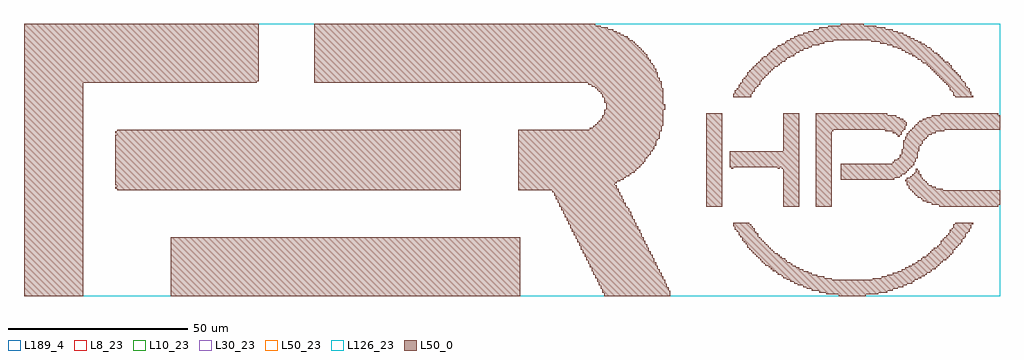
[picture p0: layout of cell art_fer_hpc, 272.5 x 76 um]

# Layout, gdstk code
import gdstk
lib = gdstk.Library(unit=1e-6, precision=1e-09)
def R(c, l, rs):  # rectangles x0, y0, x1, y1
    for r in rs: c.add(gdstk.rectangle(r[:2], r[2:], *l))
def P(c, l, *ps):  # polygons
    for p in ps: c.add(gdstk.Polygon(p, *l))
L8_23 = (8, 23)
L10_23 = (10, 23)
L30_23 = (30, 23)
L50_0 = (50, 0)
L50_23 = (50, 23)
L126_23 = (126, 23)
L189_4 = (189, 4)

art_fer_hpc = lib.new_cell('art_fer_hpc')
R(art_fer_hpc, L8_23, [(0,0,272.5,76)])
R(art_fer_hpc, L10_23, [(0,0,272.5,76)])
R(art_fer_hpc, L30_23, [(0,0,272.5,76)])
R(art_fer_hpc, L50_0, [(41,0,138.5,16.5), (190.5,25,195,51)])
P(art_fer_hpc, L50_0, [(227.5,0),(227.5,0.5),(224,0.5),(224,1),(222,1),(222,1.5),(220,1.5),(220,2),(218.5,2),(218.5,2.5),(217.5,2.5),(217.5,3),(216,3),(216,3.5),(215,3.5),(215,4),(214,4),(214,4.5),(213,4.5),(213,5),(212,5),(212,5.5),(211.5,5.5),(211.5,6),(210.5,6),(210.5,6.5),(210,6.5),(210,7),(209,7),(209,7.5),(208.5,7.5),(208.5,8),(208,8),(208,8.5),(207,8.5),(207,9),(206.5,9),(206.5,9.5),(206,9.5),(206,10),(205.5,10),(205.5,10.5),(205,10.5),(205,11),(204.5,11),(204.5,11.5),(204,11.5),(204,12),(203.5,12),(203.5,12.5),(203,12.5),(203,13),(202.5,13),(202.5,13.5),(202,13.5),(202,14.5),(201.5,14.5),(201.5,15),(201,15),(201,15.5),(200.5,15.5),(200.5,16.5),(200,16.5),(200,17),(199.5,17),(199.5,18),(199,18),(199,18.5),(198.5,18.5),(198.5,19.5),(198,19.5),(198,20.5),(202.5,20.5),(202.5,20),(203,20),(203,19.5),(203.5,19.5),(203.5,19),(204,19),(204,18),(204.5,18),(204.5,17.5),(205,17.5),(205,16.5),(205.5,16.5),(205.5,16),(206,16),(206,15.5),(206.5,15.5),(206.5,15),(207,15),(207,14.5),(207.5,14.5),(207.5,14),(208,14),(208,13.5),(208.5,13.5),(208.5,13),(209,13),(209,12.5),(209.5,12.5),(209.5,12),(210.5,12),(210.5,11.5),(211,11.5),(211,11),(211.5,11),(211.5,10.5),(212.5,10.5),(212.5,10),(213,10),(213,9.5),(214,9.5),(214,9),(214.5,9),(214.5,8.5),(215.5,8.5),(215.5,8),(216.5,8),(216.5,7.5),(217.5,7.5),(217.5,7),(219,7),(219,6.5),(220,6.5),(220,6),(221.5,6),(221.5,5.5),(223.5,5.5),(223.5,5),(225.5,5),(225.5,4.5),(237,4.5),(237,5),(239.5,5),(239.5,5.5),(241,5.5),(241,6),(242.5,6),(242.5,6.5),(244,6.5),(244,7),(245,7),(245,7.5),(246,7.5),(246,8),(247,8),(247,8.5),(248,8.5),(248,9),(249,9),(249,9.5),(249.5,9.5),(249.5,10),(250.5,10),(250.5,10.5),(251,10.5),(251,11),(252,11),(252,11.5),(252.5,11.5),(252.5,12),(253,12),(253,12.5),(253.5,12.5),(253.5,13),(254,13),(254,13.5),(255,13.5),(255,14),(255.5,14),(255.5,14.5),(256,14.5),(256,15.5),(256.5,15.5),(256.5,16),(257,16),(257,16.5),(257.5,16.5),(257.5,17),(258,17),(258,17.5),(258.5,17.5),(258.5,18.5),(259,18.5),(259,19),(259.5,19),(259.5,20),(260,20),(260,20.5),(265,20.5),(265,20),(264.5,20),(264.5,19),(264,19),(264,18),(263.5,18),(263.5,17.5),(263,17.5),(263,16.5),(262.5,16.5),(262.5,16),(262,16),(262,15),(261.5,15),(261.5,14.5),(261,14.5),(261,14),(260.5,14),(260.5,13.5),(260,13.5),(260,13),(259.5,13),(259.5,12),(259,12),(259,11.5),(258.5,11.5),(258.5,11),(258,11),(258,10.5),(257.5,10.5),(257.5,10),(256.5,10),(256.5,9.5),(256,9.5),(256,9),(255.5,9),(255.5,8.5),(255,8.5),(255,8),(254.5,8),(254.5,7.5),(253.5,7.5),(253.5,7),(253,7),(253,6.5),(252,6.5),(252,6),(251.5,6),(251.5,5.5),(250.5,5.5),(250.5,5),(249.5,5),(249.5,4.5),(248.5,4.5),(248.5,4),(248,4),(248,3.5),(246.5,3.5),(246.5,3),(245.5,3),(245.5,2.5),(244,2.5),(244,2),(242.5,2),(242.5,1.5),(241,1.5),(241,1),(238.5,1),(238.5,0.5),(235,0.5),(235,0)],
  [(255.5,25),(255.5,25.5),(253.5,25.5),(253.5,26),(252,26),(252,26.5),(251,26.5),(251,27),(250.5,27),(250.5,27.5),(249.5,27.5),(249.5,28),(249,28),(249,28.5),(248.5,28.5),(248.5,29),(248,29),(248,29.5),(247.5,29.5),(247.5,30),(247,30),(247,31),(246.5,31),(246.5,32),(246,32),(246,32.5),(246.5,32.5),(246.5,33),(247.5,33),(247.5,33.5),(248,33.5),(248,34),(248.5,34),(248.5,34.5),(249,34.5),(249,35.5),(249.5,35.5),(249.5,35),(250,35),(250,34),(250.5,34),(250.5,33),(251,33),(251,32.5),(251.5,32.5),(251.5,32),(252,32),(252,31.5),(252.5,31.5),(252.5,31),(253.5,31),(253.5,30.5),(254.5,30.5),(254.5,30),(256.5,30),(256.5,29.5),(272.5,29.5),(272.5,25.5),(272,25.5),(272,25)],
  [(26,29.5),(26,30),(25.5,30),(25.5,30.5),(26,30.5),(26,31),(25.5,31),(25.5,45),(26,45),(26,45.5),(25.5,45.5),(25.5,46),(26,46),(26,46.5),(122,46.5),(122,29.5)],
  [(212,25),(212,35.5),(211.5,35.5),(211.5,36),(211,36),(211,35.5),(210.5,35.5),(210.5,36),(198,36),(198,35.5),(197.5,35.5),(197.5,36),(197,36),(197,40.5),(212,40.5),(212,51),(216.5,51),(216.5,25)],
  [(221,25),(221,51),(241,51),(241,50.5),(243.5,50.5),(243.5,50),(244.5,50),(244.5,49.5),(245.5,49.5),(245.5,49),(246,49),(246,48.5),(246.5,48.5),(246.5,47.5),(246,47.5),(246,46.5),(245.5,46.5),(245.5,46),(245,46),(245,45),(244.5,45),(244.5,44.5),(244,44.5),(244,45),(243.5,45),(243.5,45.5),(242.5,45.5),(242.5,46),(240.5,46),(240.5,46.5),(226,46.5),(226,46),(225.5,46),(225.5,25)],
  [(228,32.5),(228,37),(242.5,37),(242.5,37.5),(243,37.5),(243,38),(244,38),(244,38.5),(244.5,38.5),(244.5,39.5),(245,39.5),(245,41),(245.5,41),(245.5,43.5),(246,43.5),(246,44.5),(246.5,44.5),(246.5,45.5),(247,45.5),(247,46),(247.5,46),(247.5,46.5),(248,46.5),(248,47),(248.5,47),(248.5,47.5),(249,47.5),(249,48),(249.5,48),(249.5,48.5),(250,48.5),(250,49),(251,49),(251,49.5),(252,49.5),(252,50),(253.5,50),(253.5,50.5),(256,50.5),(256,51),(272,51),(272,50.5),(272.5,50.5),(272.5,46.5),(257,46.5),(257,46),(254.5,46),(254.5,45.5),(253.5,45.5),(253.5,45),(252.5,45),(252.5,44.5),(252,44.5),(252,44),(251.5,44),(251.5,43.5),(251,43.5),(251,42.5),(250.5,42.5),(250.5,42),(250,42),(250,40.5),(249.5,40.5),(249.5,38.5),(249,38.5),(249,37.5),(248.5,37.5),(248.5,36.5),(248,36.5),(248,36),(247.5,36),(247.5,35.5),(247,35.5),(247,35),(246.5,35),(246.5,34.5),(246,34.5),(246,34),(245,34),(245,33.5),(244.5,33.5),(244.5,33),(243,33),(243,32.5)],
  [(0,0),(0,76),(65.5,76),(65.5,60),(65,60),(65,59.5),(16.5,59.5),(16.5,0)],
  [(162,0),(162,1),(161.5,1),(161.5,2),(161,2),(161,3),(160.5,3),(160.5,4),(160,4),(160,5),(159.5,5),(159.5,6),(159,6),(159,7),(158.5,7),(158.5,8),(158,8),(158,9),(157.5,9),(157.5,10),(157,10),(157,11),(156.5,11),(156.5,12),(156,12),(156,13),(155.5,13),(155.5,14),(155,14),(155,15),(154.5,15),(154.5,16),(154,16),(154,17),(153.5,17),(153.5,18),(153,18),(153,19),(152.5,19),(152.5,20),(152,20),(152,21),(151.5,21),(151.5,22),(151,22),(151,23),(150.5,23),(150.5,24),(150,24),(150,25),(149.5,25),(149.5,26),(149,26),(149,27),(148.5,27),(148.5,28),(148,28),(148,29),(147.5,29),(147.5,29.5),(138,29.5),(138,46.5),(158,46.5),(158,47),(159,47),(159,47.5),(159.5,47.5),(159.5,48),(160,48),(160,48.5),(160.5,48.5),(160.5,49),(161,49),(161,49.5),(161.5,49.5),(161.5,50.5),(162,50.5),(162,52),(162.5,52),(162.5,54),(162,54),(162,55.5),(161.5,55.5),(161.5,56.5),(161,56.5),(161,57),(160.5,57),(160.5,57.5),(160,57.5),(160,58),(159.5,58),(159.5,58.5),(158.5,58.5),(158.5,59),(157.5,59),(157.5,59.5),(81,59.5),(81,76),(159.5,76),(159.5,75.5),(161,75.5),(161,75),(163,75),(163,74.5),(164.5,74.5),(164.5,74),(165.5,74),(165.5,73.5),(166.5,73.5),(166.5,73),(167.5,73),(167.5,72.5),(168.5,72.5),(168.5,72),(169,72),(169,71.5),(170,71.5),(170,71),(170.5,71),(170.5,70.5),(171,70.5),(171,70),(171.5,70),(171.5,69.5),(172,69.5),(172,69),(172.5,69),(172.5,68.5),(173,68.5),(173,68),(173.5,68),(173.5,67.5),(174,67.5),(174,66.5),(174.5,66.5),(174.5,66),(175,66),(175,65),(175.5,65),(175.5,64.5),(176,64.5),(176,63.5),(176.5,63.5),(176.5,62.5),(177,62.5),(177,61),(177.5,61),(177.5,60),(178,60),(178,58),(178.5,58),(178.5,53.5),(179,53.5),(179,52),(178.5,52),(178.5,47.5),(178,47.5),(178,46),(177.5,46),(177.5,44),(177,44),(177,43.5),(176.5,43.5),(176.5,42),(176,42),(176,41),(175.5,41),(175.5,40.5),(175,40.5),(175,39.5),(174.5,39.5),(174.5,39),(174,39),(174,38.5),(173.5,38.5),(173.5,37.5),(173,37.5),(173,37),(172.5,37),(172.5,36.5),(172,36.5),(172,36),(171.5,36),(171.5,35.5),(171,35.5),(171,35),(170.5,35),(170.5,34.5),(169.5,34.5),(169.5,34),(169,34),(169,33.5),(168,33.5),(168,33),(167.5,33),(167.5,32.5),(166.5,32.5),(166.5,32),(165.5,32),(165.5,31.5),(165,31.5),(165,31),(165.5,31),(165.5,30),(166,30),(166,29),(166.5,29),(166.5,28),(167,28),(167,27),(167.5,27),(167.5,26),(168,26),(168,25),(168.5,25),(168.5,24.5),(169,24.5),(169,23.5),(169.5,23.5),(169.5,22.5),(170,22.5),(170,21.5),(170.5,21.5),(170.5,20.5),(171,20.5),(171,19.5),(171.5,19.5),(171.5,18.5),(172,18.5),(172,17.5),(172.5,17.5),(172.5,16.5),(173,16.5),(173,15.5),(173.5,15.5),(173.5,14.5),(174,14.5),(174,13.5),(174.5,13.5),(174.5,12.5),(175,12.5),(175,11.5),(175.5,11.5),(175.5,10.5),(176,10.5),(176,9.5),(176.5,9.5),(176.5,8.5),(177,8.5),(177,7.5),(177.5,7.5),(177.5,6.5),(178,6.5),(178,5.5),(178.5,5.5),(178.5,4.5),(179,4.5),(179,3.5),(179.5,3.5),(179.5,2.5),(180,2.5),(180,1.5),(180.5,1.5),(180.5,0)],
  [(198,55.5),(198,56.5),(198.5,56.5),(198.5,57.5),(199,57.5),(199,58),(199.5,58),(199.5,59),(200,59),(200,59.5),(200.5,59.5),(200.5,60.5),(201,60.5),(201,61),(201.5,61),(201.5,61.5),(202,61.5),(202,62.5),(202.5,62.5),(202.5,63),(203,63),(203,63.5),(203.5,63.5),(203.5,64),(204,64),(204,64.5),(204.5,64.5),(204.5,65),(205,65),(205,65.5),(205.5,65.5),(205.5,66),(206,66),(206,66.5),(206.5,66.5),(206.5,67),(207.5,67),(207.5,67.5),(208,67.5),(208,68),(208.5,68),(208.5,68.5),(209,68.5),(209,69),(210,69),(210,69.5),(210.5,69.5),(210.5,70),(211.5,70),(211.5,70.5),(212.5,70.5),(212.5,71),(213,71),(213,71.5),(214,71.5),(214,72),(215,72),(215,72.5),(216,72.5),(216,73),(217.5,73),(217.5,73.5),(219,73.5),(219,74),(220.5,74),(220.5,74.5),(222,74.5),(222,75),(224.5,75),(224.5,75.5),(228,75.5),(228,76),(234.5,76),(234.5,75.5),(238,75.5),(238,75),(240.5,75),(240.5,74.5),(242.5,74.5),(242.5,74),(244,74),(244,73.5),(245.5,73.5),(245.5,73),(246.5,73),(246.5,72.5),(247.5,72.5),(247.5,72),(248.5,72),(248.5,71.5),(249.5,71.5),(249.5,71),(250.5,71),(250.5,70.5),(251.5,70.5),(251.5,70),(252,70),(252,69.5),(253,69.5),(253,69),(253.5,69),(253.5,68.5),(254,68.5),(254,68),(255,68),(255,67.5),(255.5,67.5),(255.5,67),(256,67),(256,66.5),(256.5,66.5),(256.5,66),(257,66),(257,65.5),(258,65.5),(258,65),(258.5,65),(258.5,64.5),(259,64.5),(259,63.5),(259.5,63.5),(259.5,63),(260,63),(260,62.5),(260.5,62.5),(260.5,62),(261,62),(261,61.5),(261.5,61.5),(261.5,60.5),(262,60.5),(262,60),(262.5,60),(262.5,59.5),(263,59.5),(263,58.5),(263.5,58.5),(263.5,58),(264,58),(264,57),(264.5,57),(264.5,56),(265,56),(265,55.5),(260,55.5),(260,56),(259.5,56),(259.5,57),(259,57),(259,57.5),(258.5,57.5),(258.5,58.5),(258,58.5),(258,59),(257.5,59),(257.5,59.5),(257,59.5),(257,60),(256.5,60),(256.5,60.5),(256,60.5),(256,61),(255.5,61),(255.5,61.5),(255,61.5),(255,62),(254.5,62),(254.5,62.5),(254,62.5),(254,63),(253.5,63),(253.5,63.5),(253,63.5),(253,64),(252.5,64),(252.5,64.5),(252,64.5),(252,65),(251,65),(251,65.5),(250.5,65.5),(250.5,66),(249.5,66),(249.5,66.5),(249,66.5),(249,67),(248,67),(248,67.5),(247,67.5),(247,68),(246,68),(246,68.5),(245,68.5),(245,69),(244,69),(244,69.5),(242.5,69.5),(242.5,70),(241,70),(241,70.5),(239,70.5),(239,71),(236.5,71),(236.5,71.5),(226,71.5),(226,71),(223.5,71),(223.5,70.5),(222,70.5),(222,70),(220,70),(220,69.5),(219,69.5),(219,69),(217.5,69),(217.5,68.5),(216.5,68.5),(216.5,68),(215.5,68),(215.5,67.5),(215,67.5),(215,67),(214,67),(214,66.5),(213,66.5),(213,66),(212.5,66),(212.5,65.5),(211.5,65.5),(211.5,65),(211,65),(211,64.5),(210.5,64.5),(210.5,64),(209.5,64),(209.5,63.5),(209,63.5),(209,63),(208.5,63),(208.5,62.5),(208,62.5),(208,62),(207.5,62),(207.5,61.5),(207,61.5),(207,61),(206.5,61),(206.5,60.5),(206,60.5),(206,60),(205.5,60),(205.5,59),(205,59),(205,58.5),(204.5,58.5),(204.5,58),(204,58),(204,57),(203.5,57),(203.5,56.5),(203,56.5),(203,55.5)])
R(art_fer_hpc, L50_23, [(0,0,272.5,76)])
R(art_fer_hpc, L126_23, [(0,0,272.5,76)])
R(art_fer_hpc, L189_4, [(0,0,272.5,76)])

lib.write_gds('art_fer_hpc.gds')
